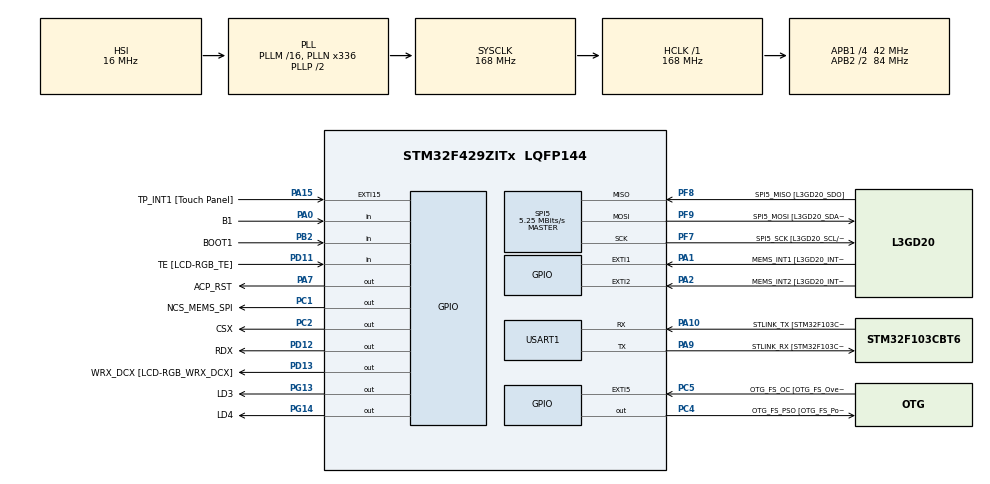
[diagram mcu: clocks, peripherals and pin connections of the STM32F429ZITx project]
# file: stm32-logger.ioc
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FREERTOS.Tasks01=defaultTask,24,128,StartDefaultTask,Default,NULL,Dynamic,NULL,NULL;HeartbeatTask,25,256,StartHeartbeatTask,Default,NULL,Dynamic,NULL,NULL;gyroTask,32,256,StartGyroTask,Default,NULL,Dynamic,NULL,NULL;loggerTask,8,512,StartLoggerTask,Default,NULL,Dynamic,NULL,NULL;sysTask,16,192,StartSysTask,Default,NULL,Dynamic,NULL,NULL
FREERTOS.configCHECK_FOR_STACK_OVERFLOW=2
FREERTOS.configUSE_NEWLIB_REENTRANT=1
Mcu.Family=STM32F4
Mcu.Name=STM32F429ZITx
Mcu.Package=LQFP144
NVIC.PriorityGroup=NVIC_PRIORITYGROUP_4
NVIC.TIM6_DAC_IRQn=true\:15\:0\:false\:false\:true\:false\:false\:true\:true
NVIC.TimeBase=TIM6_DAC_IRQn
NVIC.TimeBaseIP=TIM6
PA0/WKUP.GPIO_Label=B1
PA0/WKUP.Signal=GPIO_Input
PA1.GPIO_Label=MEMS_INT1 [L3GD20_INT1]
PA1.GPIO_ModeDefaultEXTI=GPIO_MODE_EVT_RISING
PA1.GPIO_PuPd=GPIO_NOPULL
PA1.Signal=GPXTI1
PA10.GPIO_Label=STLINK_TX [STM32F103CBT6_PA2]
PA10.Mode=Asynchronous
PA10.Signal=USART1_RX
PA11.GPIO_Label=R4
PA11.GPIO_Mode=GPIO_MODE_AF_PP
PA11.GPIO_PuPd=GPIO_NOPULL
PA11.GPIO_Speed=GPIO_SPEED_FREQ_LOW
PA11.Signal=LTDC_R4
PA12.GPIO_Label=R5
PA12.GPIO_Mode=GPIO_MODE_AF_PP
PA12.GPIO_PuPd=GPIO_NOPULL
PA12.GPIO_Speed=GPIO_SPEED_FREQ_LOW
PA12.Signal=LTDC_R5
PA13.GPIO_Label=SWDIO
PA13.Signal=SYS_JTMS-SWDIO
PA14.GPIO_Label=SWCLK
PA14.Signal=SYS_JTCK-SWCLK
PA15.GPIO_Label=TP_INT1 [Touch Panel]
PA15.GPIO_ModeDefaultEXTI=GPIO_MODE_EVT_RISING
PA15.GPIO_PuPd=GPIO_NOPULL
PA15.Signal=GPXTI15
PA2.GPIO_Label=MEMS_INT2 [L3GD20_INT2]
PA2.GPIO_ModeDefaultEXTI=GPIO_MODE_EVT_RISING
PA2.GPIO_PuPd=GPIO_NOPULL
PA2.Signal=GPXTI2
PA3.GPIO_Label=B5
PA3.GPIO_Mode=GPIO_MODE_AF_PP
PA3.GPIO_PuPd=GPIO_NOPULL
PA3.GPIO_Speed=GPIO_SPEED_FREQ_LOW
PA3.Signal=LTDC_B5
PA4.GPIO_Label=VSYNC
PA4.GPIO_Mode=GPIO_MODE_AF_PP
PA4.GPIO_PuPd=GPIO_NOPULL
PA4.GPIO_Speed=GPIO_SPEED_FREQ_LOW
PA4.Signal=LTDC_VSYNC
PA6.GPIO_Label=G2
PA6.GPIO_Mode=GPIO_MODE_AF_PP
PA6.GPIO_PuPd=GPIO_NOPULL
PA6.GPIO_Speed=GPIO_SPEED_FREQ_LOW
PA6.Signal=LTDC_G2
PA7.GPIO_Label=ACP_RST
PA7.GPIO_Mode=GPIO_MODE_OUTPUT_PP
PA7.GPIO_PuPd=GPIO_NOPULL
PA7.GPIO_Speed=GPIO_SPEED_FREQ_LOW
PA7.Signal=GPIO_Output
PA8.GPIO_Label=I2C3_SCL [ACP/RF_SCL]
PA8.GPIO_Mode=GPIO_MODE_AF_OD
PA8.GPIO_PuPd=GPIO_NOPULL
PA8.GPIO_Speed=GPIO_SPEED_FREQ_LOW
PA8.Signal=I2C3_SCL
PA9.GPIO_Label=STLINK_RX [STM32F103CBT6_PA3]
PA9.Mode=Asynchronous
PA9.Signal=USART1_TX
PB0.GPIO_Label=R3
PB0.GPIO_Mode=GPIO_MODE_AF_PP
PB0.GPIO_PuPd=GPIO_NOPULL
PB0.GPIO_Speed=GPIO_SPEED_FREQ_LOW
PB0.Signal=LTDC_R3
PB1.GPIO_Label=R6
PB1.GPIO_Mode=GPIO_MODE_AF_PP
PB1.GPIO_PuPd=GPIO_NOPULL
PB1.GPIO_Speed=GPIO_SPEED_FREQ_LOW
PB1.Signal=LTDC_R6
PB10.GPIO_Label=G4
PB10.GPIO_Mode=GPIO_MODE_AF_PP
PB10.GPIO_PuPd=GPIO_NOPULL
PB10.GPIO_Speed=GPIO_SPEED_FREQ_LOW
PB10.Signal=LTDC_G4
PB11.GPIO_Label=G5
PB11.GPIO_Mode=GPIO_MODE_AF_PP
PB11.GPIO_PuPd=GPIO_NOPULL
PB11.GPIO_Speed=GPIO_SPEED_FREQ_LOW
PB11.Signal=LTDC_G5
PB12.GPIO_Label=OTG_HS_ID
PB12.GPIO_Mode=GPIO_MODE_AF_PP
PB12.GPIO_PuPd=GPIO_NOPULL
PB12.GPIO_Speed=GPIO_SPEED_FREQ_LOW
PB12.Signal=USB_OTG_HS_ID
PB13.GPIO_Label=VBUS_HS
PB13.GPIO_Mode=GPIO_MODE_INPUT
PB13.GPIO_PuPd=GPIO_NOPULL
PB13.Signal=USB_OTG_HS_VBUS
PB14.GPIO_Label=OTG_HS_DM
PB14.GPIO_Mode=GPIO_MODE_AF_PP
PB14.GPIO_PuPd=GPIO_NOPULL
PB14.GPIO_Speed=GPIO_SPEED_FREQ_LOW
PB14.Signal=USB_OTG_HS_DM
PB15.GPIO_Label=OTG_HS_DP
PB15.GPIO_Mode=GPIO_MODE_AF_PP
PB15.GPIO_PuPd=GPIO_NOPULL
PB15.GPIO_Speed=GPIO_SPEED_FREQ_LOW
PB15.Signal=USB_OTG_HS_DP
PB2/BOOT1.GPIO_Label=BOOT1
PB2/BOOT1.GPIO_Mode=GPIO_MODE_INPUT
PB2/BOOT1.GPIO_PuPd=GPIO_NOPULL
PB2/BOOT1.Signal=GPIO_Input
PB5.GPIO_Label=SDCKE1
PB5.GPIO_Mode=GPIO_MODE_AF_PP
PB5.GPIO_PuPd=GPIO_NOPULL
PB5.GPIO_Speed=GPIO_SPEED_FREQ_VERY_HIGH
PB5.Signal=FMC_SDCKE1
PB6.GPIO_Label=SDNE1 [SDRAM_CS]
PB6.GPIO_Mode=GPIO_MODE_AF_PP
PB6.GPIO_PuPd=GPIO_NOPULL
PB6.GPIO_Speed=GPIO_SPEED_FREQ_VERY_HIGH
PB6.Signal=FMC_SDNE1
PB8.GPIO_Label=B6
PB8.GPIO_Mode=GPIO_MODE_AF_PP
PB8.GPIO_PuPd=GPIO_NOPULL
PB8.GPIO_Speed=GPIO_SPEED_FREQ_LOW
PB8.Signal=LTDC_B6
PB9.GPIO_Label=B7
PB9.GPIO_Mode=GPIO_MODE_AF_PP
PB9.GPIO_PuPd=GPIO_NOPULL
PB9.GPIO_Speed=GPIO_SPEED_FREQ_LOW
PB9.Signal=LTDC_B7
PC0.GPIO_Label=SDNWE
PC0.GPIO_Mode=GPIO_MODE_AF_PP
PC0.GPIO_PuPd=GPIO_NOPULL
PC0.GPIO_Speed=GPIO_SPEED_FREQ_VERY_HIGH
PC0.Signal=FMC_SDNWE
PC1.GPIO_Label=NCS_MEMS_SPI 
PC1.GPIO_Mode=GPIO_MODE_OUTPUT_PP
PC1.GPIO_PuPd=GPIO_NOPULL
PC1.GPIO_Speed=GPIO_SPEED_FREQ_LOW
PC1.PinState=GPIO_PIN_SET
PC1.Signal=GPIO_Output
PC10.GPIO_Label=R2
PC10.GPIO_Mode=GPIO_MODE_AF_PP
PC10.GPIO_PuPd=GPIO_NOPULL
PC10.GPIO_Speed=GPIO_SPEED_FREQ_LOW
PC10.Signal=LTDC_R2
PC14/OSC32_IN.GPIO_Label=PC14-OSC32_IN
PC14/OSC32_IN.Signal=RCC_OSC32_IN
PC15/OSC32_OUT.GPIO_Label=PC15-OSC32_OUT
PC15/OSC32_OUT.Signal=RCC_OSC32_OUT
PC2.GPIO_Label=CSX
PC2.GPIO_Mode=GPIO_MODE_OUTPUT_PP
PC2.GPIO_PuPd=GPIO_NOPULL
PC2.GPIO_Speed=GPIO_SPEED_FREQ_LOW
PC2.Signal=GPIO_Output
PC4.GPIO_Label=OTG_FS_PSO [OTG_FS_PowerSwitchOn]
PC4.GPIO_Mode=GPIO_MODE_OUTPUT_PP
PC4.GPIO_PuPd=GPIO_NOPULL
PC4.GPIO_Speed=GPIO_SPEED_FREQ_LOW
PC4.Signal=GPIO_Output
PC5.GPIO_Label=OTG_FS_OC [OTG_FS_OverCurrent]
PC5.GPIO_ModeDefaultEXTI=GPIO_MODE_EVT_RISING
PC5.Signal=GPXTI5
PC6.GPIO_Label=HSYNC
PC6.GPIO_Mode=GPIO_MODE_AF_PP
PC6.GPIO_PuPd=GPIO_NOPULL
PC6.GPIO_Speed=GPIO_SPEED_FREQ_LOW
PC6.Signal=LTDC_HSYNC
PC7.GPIO_Label=G6
PC7.GPIO_Mode=GPIO_MODE_AF_PP
PC7.GPIO_PuPd=GPIO_NOPULL
PC7.GPIO_Speed=GPIO_SPEED_FREQ_LOW
PC7.Signal=LTDC_G6
PC9.GPIO_Label=I2C3_SDA [ACP/RF_SDA]
PC9.GPIO_Mode=GPIO_MODE_AF_OD
PC9.GPIO_PuPd=GPIO_NOPULL
PC9.GPIO_Speed=GPIO_SPEED_FREQ_LOW
PC9.Signal=I2C3_SDA
PD0.GPIO_Label=D2
PD0.GPIO_Mode=GPIO_MODE_AF_PP
PD0.GPIO_PuPd=GPIO_NOPULL
PD0.GPIO_Speed=GPIO_SPEED_FREQ_VERY_HIGH
PD0.Signal=FMC_D2_DA2
PD1.GPIO_Label=D3
PD1.GPIO_Mode=GPIO_MODE_AF_PP
PD1.GPIO_PuPd=GPIO_NOPULL
PD1.GPIO_Speed=GPIO_SPEED_FREQ_VERY_HIGH
PD1.Signal=FMC_D3_DA3
PD10.GPIO_Label=D15
PD10.GPIO_Mode=GPIO_MODE_AF_PP
PD10.GPIO_PuPd=GPIO_NOPULL
PD10.GPIO_Speed=GPIO_SPEED_FREQ_VERY_HIGH
PD10.Signal=FMC_D15_DA15
PD11.GPIO_Label=TE [LCD-RGB_TE]
PD11.GPIO_Mode=GPIO_MODE_INPUT
PD11.GPIO_PuPd=GPIO_NOPULL
PD11.Signal=GPIO_Input
PD12.GPIO_Label=RDX
PD12.GPIO_Mode=GPIO_MODE_OUTPUT_PP
PD12.GPIO_PuPd=GPIO_NOPULL
PD12.GPIO_Speed=GPIO_SPEED_FREQ_LOW
PD12.Signal=GPIO_Output
PD13.GPIO_Label=WRX_DCX [LCD-RGB_WRX_DCX]
PD13.GPIO_Mode=GPIO_MODE_OUTPUT_PP
PD13.GPIO_PuPd=GPIO_NOPULL
PD13.GPIO_Speed=GPIO_SPEED_FREQ_LOW
PD13.Signal=GPIO_Output
PD14.GPIO_Label=D0
PD14.GPIO_Mode=GPIO_MODE_AF_PP
PD14.GPIO_PuPd=GPIO_NOPULL
PD14.GPIO_Speed=GPIO_SPEED_FREQ_VERY_HIGH
PD14.Signal=FMC_D0_DA0
PD15.GPIO_Label=D1
PD15.GPIO_Mode=GPIO_MODE_AF_PP
PD15.GPIO_PuPd=GPIO_NOPULL
PD15.GPIO_Speed=GPIO_SPEED_FREQ_VERY_HIGH
PD15.Signal=FMC_D1_DA1
PD3.GPIO_Label=G7
PD3.GPIO_Mode=GPIO_MODE_AF_PP
PD3.GPIO_PuPd=GPIO_NOPULL
PD3.GPIO_Speed=GPIO_SPEED_FREQ_LOW
PD3.Signal=LTDC_G7
PD6.GPIO_Label=B2
PD6.GPIO_Mode=GPIO_MODE_AF_PP
PD6.GPIO_PuPd=GPIO_NOPULL
PD6.GPIO_Speed=GPIO_SPEED_FREQ_LOW
PD6.Signal=LTDC_B2
PD8.GPIO_Label=D13
PD8.GPIO_Mode=GPIO_MODE_AF_PP
PD8.GPIO_PuPd=GPIO_NOPULL
PD8.GPIO_Speed=GPIO_SPEED_FREQ_VERY_HIGH
PD8.Signal=FMC_D13_DA13
PD9.GPIO_Label=D14
PD9.GPIO_Mode=GPIO_MODE_AF_PP
PD9.GPIO_PuPd=GPIO_NOPULL
PD9.GPIO_Speed=GPIO_SPEED_FREQ_VERY_HIGH
PD9.Signal=FMC_D14_DA14
PE0.GPIO_Label=NBL0 [SDRAM_LDQM]
PE0.GPIO_Mode=GPIO_MODE_AF_PP
PE0.GPIO_PuPd=GPIO_NOPULL
PE0.GPIO_Speed=GPIO_SPEED_FREQ_VERY_HIGH
PE0.Signal=FMC_NBL0
PE1.GPIO_Label=NBL1 [SDRAM_UDQM]
PE1.GPIO_Mode=GPIO_MODE_AF_PP
PE1.GPIO_PuPd=GPIO_NOPULL
PE1.GPIO_Speed=GPIO_SPEED_FREQ_VERY_HIGH
PE1.Signal=FMC_NBL1
PE10.GPIO_Label=D7
PE10.GPIO_Mode=GPIO_MODE_AF_PP
PE10.GPIO_PuPd=GPIO_NOPULL
PE10.GPIO_Speed=GPIO_SPEED_FREQ_VERY_HIGH
PE10.Signal=FMC_D7_DA7
PE11.GPIO_Label=D8
PE11.GPIO_Mode=GPIO_MODE_AF_PP
PE11.GPIO_PuPd=GPIO_NOPULL
PE11.GPIO_Speed=GPIO_SPEED_FREQ_VERY_HIGH
PE11.Signal=FMC_D8_DA8
PE12.GPIO_Label=D9
PE12.GPIO_Mode=GPIO_MODE_AF_PP
PE12.GPIO_PuPd=GPIO_NOPULL
PE12.GPIO_Speed=GPIO_SPEED_FREQ_VERY_HIGH
PE12.Signal=FMC_D9_DA9
PE13.GPIO_Label=D10
PE13.GPIO_Mode=GPIO_MODE_AF_PP
PE13.GPIO_PuPd=GPIO_NOPULL
PE13.GPIO_Speed=GPIO_SPEED_FREQ_VERY_HIGH
PE13.Signal=FMC_D10_DA10
PE14.GPIO_Label=D11
PE14.GPIO_Mode=GPIO_MODE_AF_PP
PE14.GPIO_PuPd=GPIO_NOPULL
PE14.GPIO_Speed=GPIO_SPEED_FREQ_VERY_HIGH
PE14.Signal=FMC_D11_DA11
PE15.GPIO_Label=D12
PE15.GPIO_Mode=GPIO_MODE_AF_PP
PE15.GPIO_PuPd=GPIO_NOPULL
PE15.GPIO_Speed=GPIO_SPEED_FREQ_VERY_HIGH
PE15.Signal=FMC_D12_DA12
PE7.GPIO_Label=D4
PE7.GPIO_Mode=GPIO_MODE_AF_PP
PE7.GPIO_PuPd=GPIO_NOPULL
PE7.GPIO_Speed=GPIO_SPEED_FREQ_VERY_HIGH
PE7.Signal=FMC_D4_DA4
PE8.GPIO_Label=D5
PE8.GPIO_Mode=GPIO_MODE_AF_PP
PE8.GPIO_PuPd=GPIO_NOPULL
PE8.GPIO_Speed=GPIO_SPEED_FREQ_VERY_HIGH
PE8.Signal=FMC_D5_DA5
PE9.GPIO_Label=D6
PE9.GPIO_Mode=GPIO_MODE_AF_PP
PE9.GPIO_PuPd=GPIO_NOPULL
PE9.GPIO_Speed=GPIO_SPEED_FREQ_VERY_HIGH
PE9.Signal=FMC_D6_DA6
PF0.GPIO_Label=A0
PF0.GPIO_Mode=GPIO_MODE_AF_PP
PF0.GPIO_PuPd=GPIO_NOPULL
PF0.GPIO_Speed=GPIO_SPEED_FREQ_VERY_HIGH
PF0.Signal=FMC_A0
PF1.GPIO_Label=A1
PF1.GPIO_Mode=GPIO_MODE_AF_PP
PF1.GPIO_PuPd=GPIO_NOPULL
PF1.GPIO_Speed=GPIO_SPEED_FREQ_VERY_HIGH
PF1.Signal=FMC_A1
PF10.GPIO_Label=ENABLE [LCD-RGB_ENABLE]
PF10.GPIO_Mode=GPIO_MODE_AF_PP
PF10.GPIO_PuPd=GPIO_NOPULL
PF10.GPIO_Speed=GPIO_SPEED_FREQ_LOW
PF10.Signal=LTDC_DE
PF11.GPIO_Label=SDNRAS
PF11.GPIO_Mode=GPIO_MODE_AF_PP
PF11.GPIO_PuPd=GPIO_NOPULL
PF11.GPIO_Speed=GPIO_SPEED_FREQ_VERY_HIGH
PF11.Signal=FMC_SDNRAS
PF12.GPIO_Label=A6
PF12.GPIO_Mode=GPIO_MODE_AF_PP
PF12.GPIO_PuPd=GPIO_NOPULL
PF12.GPIO_Speed=GPIO_SPEED_FREQ_VERY_HIGH
PF12.Signal=FMC_A6
PF13.GPIO_Label=A7
PF13.GPIO_Mode=GPIO_MODE_AF_PP
PF13.GPIO_PuPd=GPIO_NOPULL
PF13.GPIO_Speed=GPIO_SPEED_FREQ_VERY_HIGH
PF13.Signal=FMC_A7
PF14.GPIO_Label=A8
PF14.GPIO_Mode=GPIO_MODE_AF_PP
PF14.GPIO_PuPd=GPIO_NOPULL
PF14.GPIO_Speed=GPIO_SPEED_FREQ_VERY_HIGH
PF14.Signal=FMC_A8
PF15.GPIO_Label=A9
PF15.GPIO_Mode=GPIO_MODE_AF_PP
PF15.GPIO_PuPd=GPIO_NOPULL
PF15.GPIO_Speed=GPIO_SPEED_FREQ_VERY_HIGH
PF15.Signal=FMC_A9
PF2.GPIO_Label=A2
PF2.GPIO_Mode=GPIO_MODE_AF_PP
PF2.GPIO_PuPd=GPIO_NOPULL
PF2.GPIO_Speed=GPIO_SPEED_FREQ_VERY_HIGH
PF2.Signal=FMC_A2
PF3.GPIO_Label=A3
PF3.GPIO_Mode=GPIO_MODE_AF_PP
PF3.GPIO_PuPd=GPIO_NOPULL
PF3.GPIO_Speed=GPIO_SPEED_FREQ_VERY_HIGH
PF3.Signal=FMC_A3
PF4.GPIO_Label=A4
PF4.GPIO_Mode=GPIO_MODE_AF_PP
PF4.GPIO_PuPd=GPIO_NOPULL
PF4.GPIO_Speed=GPIO_SPEED_FREQ_VERY_HIGH
PF4.Signal=FMC_A4
PF5.GPIO_Label=A5
PF5.GPIO_Mode=GPIO_MODE_AF_PP
PF5.GPIO_PuPd=GPIO_NOPULL
PF5.GPIO_Speed=GPIO_SPEED_FREQ_VERY_HIGH
PF5.Signal=FMC_A5
PF7.GPIO_Label=SPI5_SCK [L3GD20_SCL/SPC]
PF7.GPIO_Mode=GPIO_MODE_AF_PP
PF7.GPIO_PuPd=GPIO_NOPULL
PF7.GPIO_Speed=GPIO_SPEED_FREQ_VERY_HIGH
PF7.Mode=Full_Duplex_Master
PF7.Signal=SPI5_SCK
PF8.GPIO_Label=SPI5_MISO [L3GD20_SDO]
PF8.GPIO_Mode=GPIO_MODE_AF_PP
PF8.GPIO_PuPd=GPIO_NOPULL
PF8.GPIO_Speed=GPIO_SPEED_FREQ_VERY_HIGH
PF8.Mode=Full_Duplex_Master
PF8.Signal=SPI5_MISO
PF9.GPIO_Label=SPI5_MOSI [L3GD20_SDA/SDI/SDO]
PF9.GPIO_Mode=GPIO_MODE_AF_PP
PF9.GPIO_PuPd=GPIO_NOPULL
PF9.GPIO_Speed=GPIO_SPEED_FREQ_VERY_HIGH
PF9.Mode=Full_Duplex_Master
PF9.Signal=SPI5_MOSI
PG0.GPIO_Label=A10
PG0.GPIO_Mode=GPIO_MODE_AF_PP
PG0.GPIO_PuPd=GPIO_NOPULL
PG0.GPIO_Speed=GPIO_SPEED_FREQ_VERY_HIGH
PG0.Signal=FMC_A10
PG1.GPIO_Label=A11
PG1.GPIO_Mode=GPIO_MODE_AF_PP
PG1.GPIO_PuPd=GPIO_NOPULL
PG1.GPIO_Speed=GPIO_SPEED_FREQ_VERY_HIGH
PG1.Signal=FMC_A11
PG10.GPIO_Label=G3
PG10.GPIO_Mode=GPIO_MODE_AF_PP
PG10.GPIO_PuPd=GPIO_NOPULL
PG10.GPIO_Speed=GPIO_SPEED_FREQ_LOW
PG10.Signal=LTDC_G3
PG11.GPIO_Label=B3
PG11.GPIO_Mode=GPIO_MODE_AF_PP
PG11.GPIO_PuPd=GPIO_NOPULL
PG11.GPIO_Speed=GPIO_SPEED_FREQ_LOW
PG11.Signal=LTDC_B3
PG12.GPIO_Label=B4
PG12.GPIO_Mode=GPIO_MODE_AF_PP
PG12.GPIO_PuPd=GPIO_NOPULL
PG12.GPIO_Speed=GPIO_SPEED_FREQ_LOW
PG12.Signal=LTDC_B4
PG13.GPIO_Label=LD3
PG13.GPIO_Mode=GPIO_MODE_OUTPUT_PP
PG13.GPIO_PuPd=GPIO_NOPULL
PG13.GPIO_Speed=GPIO_SPEED_FREQ_LOW
PG13.Signal=GPIO_Output
PG14.GPIO_Label=LD4
PG14.Signal=GPIO_Output
PG15.GPIO_Label=SDNCAS
PG15.GPIO_Mode=GPIO_MODE_AF_PP
PG15.GPIO_PuPd=GPIO_NOPULL
PG15.GPIO_Speed=GPIO_SPEED_FREQ_VERY_HIGH
PG15.Signal=FMC_SDNCAS
PG4.GPIO_Label=BA0
PG4.GPIO_Mode=GPIO_MODE_AF_PP
PG4.GPIO_PuPd=GPIO_NOPULL
PG4.GPIO_Speed=GPIO_SPEED_FREQ_VERY_HIGH
PG4.Signal=FMC_A14_BA0
PG5.GPIO_Label=BA1
PG5.GPIO_Mode=GPIO_MODE_AF_PP
PG5.GPIO_PuPd=GPIO_NOPULL
PG5.GPIO_Speed=GPIO_SPEED_FREQ_VERY_HIGH
PG5.Signal=FMC_A15_BA1
PG6.GPIO_Label=R7
PG6.GPIO_Mode=GPIO_MODE_AF_PP
PG6.GPIO_PuPd=GPIO_NOPULL
PG6.GPIO_Speed=GPIO_SPEED_FREQ_LOW
PG6.Signal=LTDC_R7
PG7.GPIO_Label=DOTCLK [LCT-RGB_DOTCLK]
PG7.GPIO_Mode=GPIO_MODE_AF_PP
PG7.GPIO_PuPd=GPIO_NOPULL
PG7.GPIO_Speed=GPIO_SPEED_FREQ_LOW
PG7.Signal=LTDC_CLK
PG8.GPIO_Label=SDCLK
PG8.GPIO_Mode=GPIO_MODE_AF_PP
PG8.GPIO_PuPd=GPIO_NOPULL
PG8.GPIO_Speed=GPIO_SPEED_FREQ_VERY_HIGH
PG8.Signal=FMC_SDCLK
PH0/OSC_IN.GPIO_Label=PH0-OSC_IN
PH0/OSC_IN.Signal=RCC_OSC_IN
PH1/OSC_OUT.GPIO_Label=PH1-OSC_OUT
PH1/OSC_OUT.Signal=RCC_OSC_OUT
ProjectManager.HeapSize=0x200
ProjectManager.StackSize=0x400
ProjectManager.TargetToolchain=STM32CubeIDE
RCC.48MHZClocksFreq_Value=48000000
RCC.AHBFreq_Value=168000000
RCC.APB1CLKDivider=RCC_HCLK_DIV4
RCC.APB1Freq_Value=42000000
RCC.APB1TimFreq_Value=84000000
RCC.APB2CLKDivider=RCC_HCLK_DIV2
RCC.APB2Freq_Value=84000000
RCC.APB2TimFreq_Value=168000000
RCC.CortexFreq_Value=168000000
RCC.HCLKFreq_Value=168000000
RCC.HSE_VALUE=8000000
RCC.HSI_VALUE=16000000
RCC.LSE_VALUE=32768
RCC.PLLN=336
RCC.PLLQ=7
RCC.SYSCLKFreq_VALUE=168000000
RCC.SYSCLKSource=RCC_SYSCLKSOURCE_PLLCLK
RCC.VCOOutputFreq_Value=336000000
SH.FMC_A0.0=FMC_A0
SH.FMC_A1.0=FMC_A1
SH.FMC_A10.0=FMC_A10
SH.FMC_A11.0=FMC_A11
SH.FMC_A14_BA0.0=FMC_BA0
SH.FMC_A15_BA1.0=FMC_BA1
SH.FMC_A2.0=FMC_A2
SH.FMC_A3.0=FMC_A3
SH.FMC_A4.0=FMC_A4
SH.FMC_A5.0=FMC_A5
SH.FMC_A6.0=FMC_A6
SH.FMC_A7.0=FMC_A7
SH.FMC_A8.0=FMC_A8
SH.FMC_A9.0=FMC_A9
SH.FMC_D0_DA0.0=FMC_D0
SH.FMC_D10_DA10.0=FMC_D10
SH.FMC_D11_DA11.0=FMC_D11
SH.FMC_D12_DA12.0=FMC_D12
SH.FMC_D13_DA13.0=FMC_D13
SH.FMC_D14_DA14.0=FMC_D14
SH.FMC_D15_DA15.0=FMC_D15
SH.FMC_D1_DA1.0=FMC_D1
SH.FMC_D2_DA2.0=FMC_D2
SH.FMC_D3_DA3.0=FMC_D3
SH.FMC_D4_DA4.0=FMC_D4
SH.FMC_D5_DA5.0=FMC_D5
SH.FMC_D6_DA6.0=FMC_D6
SH.FMC_D7_DA7.0=FMC_D7
SH.FMC_D8_DA8.0=FMC_D8
SH.FMC_D9_DA9.0=FMC_D9
SH.FMC_NBL0.0=FMC_NBL0
SH.FMC_NBL1.0=FMC_NBL1
SH.FMC_SDCLK.0=FMC_SDCLK
SH.FMC_SDNCAS.0=FMC_SDNCAS
SH.FMC_SDNRAS.0=FMC_SDNRAS
SH.FMC_SDNWE.0=FMC_SDNWE
SPI5.BaudRatePrescaler=SPI_BAUDRATEPRESCALER_16
SPI5.CalculateBaudRate=5.25 MBits/s
SPI5.Direction=SPI_DIRECTION_2LINES
SPI5.Mode=SPI_MODE_MASTER
SPI5.VirtualType=VM_MASTER
USART1.VirtualMode=VM_ASYNC
VP_FREERTOS_VS_CMSIS_V2.Mode=CMSIS_V2
VP_SYS_VS_tim6.Mode=TIM6
board=STM32F429I-DISC1

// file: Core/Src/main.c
/* USER CODE BEGIN Header */
/**
  ******************************************************************************
  * @file           : main.c
  * @brief          : Main program body
  ******************************************************************************
  * @attention
  *
  * Copyright (c) 2026 STMicroelectronics.
  * All rights reserved.
  *
  * This software is licensed under terms that can be found in the LICENSE file
  * in the root directory of this software component.
  * If no LICENSE file comes with this software, it is provided AS-IS.
  *
  ******************************************************************************
  */
/* USER CODE END Header */
#include "main.h"
#include "cmsis_os.h"

/* USER CODE BEGIN Includes */
#include "stdio.h"
#include "gyro.h"

#include "gyro.h"
#include "sample.h"

#include <string.h>

#include "FreeRTOS.h"
#include "task.h"

/* USER CODE END Includes */

SPI_HandleTypeDef hspi5;

UART_HandleTypeDef huart1;

/* Definitions for defaultTask */
osThreadId_t defaultTaskHandle;
const osThreadAttr_t defaultTask_attributes = {
  .name = "defaultTask",
  .stack_size = 128 * 4,
  .priority = (osPriority_t) osPriorityNormal,
};
/* Definitions for HeartbeatTask */
osThreadId_t HeartbeatTaskHandle;
const osThreadAttr_t HeartbeatTask_attributes = {
  .name = "HeartbeatTask",
  .stack_size = 256 * 4,
  .priority = (osPriority_t) osPriorityNormal1,
};
/* Definitions for gyroTask */
osThreadId_t gyroTaskHandle;
const osThreadAttr_t gyroTask_attributes = {
  .name = "gyroTask",
  .stack_size = 256 * 4,
  .priority = (osPriority_t) osPriorityAboveNormal,
};
/* Definitions for loggerTask */
osThreadId_t loggerTaskHandle;
const osThreadAttr_t loggerTask_attributes = {
  .name = "loggerTask",
  .stack_size = 512 * 4,
  .priority = (osPriority_t) osPriorityLow,
};
/* Definitions for sysTask */
osThreadId_t sysTaskHandle;
const osThreadAttr_t sysTask_attributes = {
  .name = "sysTask",
  .stack_size = 192 * 4,
  .priority = (osPriority_t) osPriorityBelowNormal,
};
/* USER CODE BEGIN PV */
static uint32_t dropped[SRC_COUNT] = { 0 };

static volatile uint32_t gyro_loops   = 0;
static volatile uint32_t logger_loops = 0;

//our own q

osMessageQueueId_t sampleQueueHandle;

/* USER CODE END PV */

void SystemClock_Config(void);
static void MX_GPIO_Init(void);
static void MX_USART1_UART_Init(void);
static void MX_SPI5_Init(void);
void StartDefaultTask(void *argument);
void StartHeartbeatTask(void *argument);
void StartGyroTask(void *argument);
void StartLoggerTask(void *argument);
void StartSysTask(void *argument);

/* USER CODE BEGIN 0 */
static uint32_t blink_ms = 500;
/* USER CODE END 0 */

int main(void)
{

  /* MCU Configuration--------------------------------------------------------*/

  /* Reset of all peripherals, Initializes the Flash interface and the Systick. */
  HAL_Init();

  /* Configure the system clock */
  SystemClock_Config();

  /* Initialize all configured peripherals */
  MX_GPIO_Init();
  MX_USART1_UART_Init();
  MX_SPI5_Init();
  /* USER CODE BEGIN 2 */
  const char *banner = "\r\n=== boot 10 ===\r\n";
    HAL_UART_Transmit(&huart1, (uint8_t *)banner, strlen(banner), 100);
  /* USER CODE END 2 */

  /* Init scheduler */
  osKernelInitialize();

  /* USER CODE BEGIN RTOS_QUEUES */
  /* add queues, ... */

  /* USER CODE BEGIN RTOS_QUEUES */
    sampleQueueHandle = osMessageQueueNew(32, sizeof(sample_t), NULL);
    if (sampleQueueHandle == NULL)
    {
      Error_Handler();
    }
  /* USER CODE END RTOS_QUEUES */

  /* Create the thread(s) */
  /* creation of defaultTask */
  defaultTaskHandle = osThreadNew(StartDefaultTask, NULL, &defaultTask_attributes);

  /* creation of HeartbeatTask */
  HeartbeatTaskHandle = osThreadNew(StartHeartbeatTask, NULL, &HeartbeatTask_attributes);

  /* creation of gyroTask */
  gyroTaskHandle = osThreadNew(StartGyroTask, NULL, &gyroTask_attributes);

  /* creation of loggerTask */
  loggerTaskHandle = osThreadNew(StartLoggerTask, NULL, &loggerTask_attributes);

  /* creation of sysTask */
  sysTaskHandle = osThreadNew(StartSysTask, NULL, &sysTask_attributes);

  /* Start scheduler */
  osKernelStart();

  /* We should never get here as control is now taken by the scheduler */

  /* Infinite loop */
  while (1)
  {

    /* USER CODE BEGIN 3 */
	//  HAL_GPIO_WritePin(LD4_GPIO_Port, LD4_Pin, GPIO_PIN_SET);

  }
  /* USER CODE END 3 */
}

void SystemClock_Config(void)
{
  RCC_OscInitTypeDef RCC_OscInitStruct = {0};
  RCC_ClkInitTypeDef RCC_ClkInitStruct = {0};

  /** Configure the main internal regulator output voltage
  */
  __HAL_RCC_PWR_CLK_ENABLE();
  __HAL_PWR_VOLTAGESCALING_CONFIG(PWR_REGULATOR_VOLTAGE_SCALE1);

  /** Initializes the RCC Oscillators according to the specified parameters
  * in the RCC_OscInitTypeDef structure.
  */
  RCC_OscInitStruct.OscillatorType = RCC_OSCILLATORTYPE_HSI;
  RCC_OscInitStruct.HSIState = RCC_HSI_ON;
  RCC_OscInitStruct.HSICalibrationValue = RCC_HSICALIBRATION_DEFAULT;
  RCC_OscInitStruct.PLL.PLLState = RCC_PLL_ON;
  RCC_OscInitStruct.PLL.PLLSource = RCC_PLLSOURCE_HSI;
  RCC_OscInitStruct.PLL.PLLM = 16;
  RCC_OscInitStruct.PLL.PLLN = 336;
  RCC_OscInitStruct.PLL.PLLP = RCC_PLLP_DIV2;
  RCC_OscInitStruct.PLL.PLLQ = 7;
  if (HAL_RCC_OscConfig(&RCC_OscInitStruct) != HAL_OK)
  {
    Error_Handler();
  }

  /** Initializes the CPU, AHB and APB buses clocks
  */
  RCC_ClkInitStruct.ClockType = RCC_CLOCKTYPE_HCLK|RCC_CLOCKTYPE_SYSCLK
                              |RCC_CLOCKTYPE_PCLK1|RCC_CLOCKTYPE_PCLK2;
  RCC_ClkInitStruct.SYSCLKSource = RCC_SYSCLKSOURCE_PLLCLK;
  RCC_ClkInitStruct.AHBCLKDivider = RCC_SYSCLK_DIV1;
  RCC_ClkInitStruct.APB1CLKDivider = RCC_HCLK_DIV4;
  RCC_ClkInitStruct.APB2CLKDivider = RCC_HCLK_DIV2;

  if (HAL_RCC_ClockConfig(&RCC_ClkInitStruct, FLASH_LATENCY_5) != HAL_OK)
  {
    Error_Handler();
  }
}

static void MX_SPI5_Init(void)
{

  /* SPI5 parameter configuration*/
  hspi5.Instance = SPI5;
  hspi5.Init.Mode = SPI_MODE_MASTER;
  hspi5.Init.Direction = SPI_DIRECTION_2LINES;
  hspi5.Init.DataSize = SPI_DATASIZE_8BIT;
  hspi5.Init.CLKPolarity = SPI_POLARITY_LOW;
  hspi5.Init.CLKPhase = SPI_PHASE_1EDGE;
  hspi5.Init.NSS = SPI_NSS_SOFT;
  hspi5.Init.BaudRatePrescaler = SPI_BAUDRATEPRESCALER_16;
  hspi5.Init.FirstBit = SPI_FIRSTBIT_MSB;
  hspi5.Init.TIMode = SPI_TIMODE_DISABLE;
  hspi5.Init.CRCCalculation = SPI_CRCCALCULATION_DISABLE;
  hspi5.Init.CRCPolynomial = 10;
  if (HAL_SPI_Init(&hspi5) != HAL_OK)
  {
    Error_Handler();
  }

}

static void MX_USART1_UART_Init(void)
{

  huart1.Instance = USART1;
  huart1.Init.BaudRate = 115200;
  huart1.Init.WordLength = UART_WORDLENGTH_8B;
  huart1.Init.StopBits = UART_STOPBITS_1;
  huart1.Init.Parity = UART_PARITY_NONE;
  huart1.Init.Mode = UART_MODE_TX_RX;
  huart1.Init.HwFlowCtl = UART_HWCONTROL_NONE;
  huart1.Init.OverSampling = UART_OVERSAMPLING_16;
  if (HAL_UART_Init(&huart1) != HAL_OK)
  {
    Error_Handler();
  }

}

static void MX_GPIO_Init(void)
{
  GPIO_InitTypeDef GPIO_InitStruct = {0};

  /* GPIO Ports Clock Enable */
  __HAL_RCC_GPIOC_CLK_ENABLE();
  __HAL_RCC_GPIOF_CLK_ENABLE();
  __HAL_RCC_GPIOH_CLK_ENABLE();
  __HAL_RCC_GPIOA_CLK_ENABLE();
  __HAL_RCC_GPIOB_CLK_ENABLE();
  __HAL_RCC_GPIOG_CLK_ENABLE();
  __HAL_RCC_GPIOE_CLK_ENABLE();
  __HAL_RCC_GPIOD_CLK_ENABLE();

  /*Configure GPIO pin Output Level */
  HAL_GPIO_WritePin(NCS_MEMS_SPI_GPIO_Port, NCS_MEMS_SPI_Pin, GPIO_PIN_SET);

  /*Configure GPIO pin Output Level */
  HAL_GPIO_WritePin(GPIOC, CSX_Pin|OTG_FS_PSO_Pin, GPIO_PIN_RESET);

  /*Configure GPIO pin Output Level */
  HAL_GPIO_WritePin(ACP_RST_GPIO_Port, ACP_RST_Pin, GPIO_PIN_RESET);

  /*Configure GPIO pin Output Level */
  HAL_GPIO_WritePin(GPIOD, RDX_Pin|WRX_DCX_Pin, GPIO_PIN_RESET);

  /*Configure GPIO pin Output Level */
  HAL_GPIO_WritePin(GPIOG, LD3_Pin|LD4_Pin, GPIO_PIN_RESET);

  /*Configure GPIO pins : A0_Pin A1_Pin A2_Pin A3_Pin
                           A4_Pin A5_Pin SDNRAS_Pin A6_Pin
                           A7_Pin A8_Pin A9_Pin */
  GPIO_InitStruct.Pin = A0_Pin|A1_Pin|A2_Pin|A3_Pin
                          |A4_Pin|A5_Pin|SDNRAS_Pin|A6_Pin
                          |A7_Pin|A8_Pin|A9_Pin;
  GPIO_InitStruct.Mode = GPIO_MODE_AF_PP;
  GPIO_InitStruct.Pull = GPIO_NOPULL;
  GPIO_InitStruct.Speed = GPIO_SPEED_FREQ_VERY_HIGH;
  GPIO_InitStruct.Alternate = GPIO_AF12_FMC;
  HAL_GPIO_Init(GPIOF, &GPIO_InitStruct);

  /*Configure GPIO pin : ENABLE_Pin */
  GPIO_InitStruct.Pin = ENABLE_Pin;
  GPIO_InitStruct.Mode = GPIO_MODE_AF_PP;
  GPIO_InitStruct.Pull = GPIO_NOPULL;
  GPIO_InitStruct.Speed = GPIO_SPEED_FREQ_LOW;
  GPIO_InitStruct.Alternate = GPIO_AF14_LTDC;
  HAL_GPIO_Init(ENABLE_GPIO_Port, &GPIO_InitStruct);

  /*Configure GPIO pin : SDNWE_Pin */
  GPIO_InitStruct.Pin = SDNWE_Pin;
  GPIO_InitStruct.Mode = GPIO_MODE_AF_PP;
  GPIO_InitStruct.Pull = GPIO_NOPULL;
  GPIO_InitStruct.Speed = GPIO_SPEED_FREQ_VERY_HIGH;
  GPIO_InitStruct.Alternate = GPIO_AF12_FMC;
  HAL_GPIO_Init(SDNWE_GPIO_Port, &GPIO_InitStruct);

  /*Configure GPIO pins : NCS_MEMS_SPI_Pin CSX_Pin OTG_FS_PSO_Pin */
  GPIO_InitStruct.Pin = NCS_MEMS_SPI_Pin|CSX_Pin|OTG_FS_PSO_Pin;
  GPIO_InitStruct.Mode = GPIO_MODE_OUTPUT_PP;
  GPIO_InitStruct.Pull = GPIO_NOPULL;
  GPIO_InitStruct.Speed = GPIO_SPEED_FREQ_LOW;
  HAL_GPIO_Init(GPIOC, &GPIO_InitStruct);

  /*Configure GPIO pin : B1_Pin */
  GPIO_InitStruct.Pin = B1_Pin;
  GPIO_InitStruct.Mode = GPIO_MODE_INPUT;
  GPIO_InitStruct.Pull = GPIO_NOPULL;
  HAL_GPIO_Init(B1_GPIO_Port, &GPIO_InitStruct);

  /*Configure GPIO pins : MEMS_INT1_Pin MEMS_INT2_Pin TP_INT1_Pin */
  GPIO_InitStruct.Pin = MEMS_INT1_Pin|MEMS_INT2_Pin|TP_INT1_Pin;
  GPIO_InitStruct.Mode = GPIO_MODE_EVT_RISING;
  GPIO_InitStruct.Pull = GPIO_NOPULL;
  HAL_GPIO_Init(GPIOA, &GPIO_InitStruct);

  /*Configure GPIO pins : B5_Pin VSYNC_Pin G2_Pin R4_Pin
                           R5_Pin */
  GPIO_InitStruct.Pin = B5_Pin|VSYNC_Pin|G2_Pin|R4_Pin
                          |R5_Pin;
  GPIO_InitStruct.Mode = GPIO_MODE_AF_PP;
  GPIO_InitStruct.Pull = GPIO_NOPULL;
  GPIO_InitStruct.Speed = GPIO_SPEED_FREQ_LOW;
  GPIO_InitStruct.Alternate = GPIO_AF14_LTDC;
  HAL_GPIO_Init(GPIOA, &GPIO_InitStruct);

  /*Configure GPIO pin : ACP_RST_Pin */
  GPIO_InitStruct.Pin = ACP_RST_Pin;
  GPIO_InitStruct.Mode = GPIO_MODE_OUTPUT_PP;
  GPIO_InitStruct.Pull = GPIO_NOPULL;
  GPIO_InitStruct.Speed = GPIO_SPEED_FREQ_LOW;
  HAL_GPIO_Init(ACP_RST_GPIO_Port, &GPIO_InitStruct);

  /*Configure GPIO pin : OTG_FS_OC_Pin */
  GPIO_InitStruct.Pin = OTG_FS_OC_Pin;
  GPIO_InitStruct.Mode = GPIO_MODE_EVT_RISING;
  GPIO_InitStruct.Pull = GPIO_NOPULL;
  HAL_GPIO_Init(OTG_FS_OC_GPIO_Port, &GPIO_InitStruct);

  /*Configure GPIO pins : R3_Pin R6_Pin */
  GPIO_InitStruct.Pin = R3_Pin|R6_Pin;
  GPIO_InitStruct.Mode = GPIO_MODE_AF_PP;
  GPIO_InitStruct.Pull = GPIO_NOPULL;
  GPIO_InitStruct.Speed = GPIO_SPEED_FREQ_LOW;
  GPIO_InitStruct.Alternate = GPIO_AF9_LTDC;
  HAL_GPIO_Init(GPIOB, &GPIO_InitStruct);

  /*Configure GPIO pin : BOOT1_Pin */
  GPIO_InitStruct.Pin = BOOT1_Pin;
  GPIO_InitStruct.Mode = GPIO_MODE_INPUT;
  GPIO_InitStruct.Pull = GPIO_NOPULL;
  HAL_GPIO_Init(BOOT1_GPIO_Port, &GPIO_InitStruct);

  /*Configure GPIO pins : A10_Pin A11_Pin BA0_Pin BA1_Pin
                           SDCLK_Pin SDNCAS_Pin */
  GPIO_InitStruct.Pin = A10_Pin|A11_Pin|BA0_Pin|BA1_Pin
                          |SDCLK_Pin|SDNCAS_Pin;
  GPIO_InitStruct.Mode = GPIO_MODE_AF_PP;
  GPIO_InitStruct.Pull = GPIO_NOPULL;
  GPIO_InitStruct.Speed = GPIO_SPEED_FREQ_VERY_HIGH;
  GPIO_InitStruct.Alternate = GPIO_AF12_FMC;
  HAL_GPIO_Init(GPIOG, &GPIO_InitStruct);

  /*Configure GPIO pins : D4_Pin D5_Pin D6_Pin D7_Pin
                           D8_Pin D9_Pin D10_Pin D11_Pin
                           D12_Pin NBL0_Pin NBL1_Pin */
  GPIO_InitStruct.Pin = D4_Pin|D5_Pin|D6_Pin|D7_Pin
                          |D8_Pin|D9_Pin|D10_Pin|D11_Pin
                          |D12_Pin|NBL0_Pin|NBL1_Pin;
  GPIO_InitStruct.Mode = GPIO_MODE_AF_PP;
  GPIO_InitStruct.Pull = GPIO_NOPULL;
  GPIO_InitStruct.Speed = GPIO_SPEED_FREQ_VERY_HIGH;
  GPIO_InitStruct.Alternate = GPIO_AF12_FMC;
  HAL_GPIO_Init(GPIOE, &GPIO_InitStruct);

  /*Configure GPIO pins : G4_Pin G5_Pin B6_Pin B7_Pin */
  GPIO_InitStruct.Pin = G4_Pin|G5_Pin|B6_Pin|B7_Pin;
  GPIO_InitStruct.Mode = GPIO_MODE_AF_PP;
  GPIO_InitStruct.Pull = GPIO_NOPULL;
  GPIO_InitStruct.Speed = GPIO_SPEED_FREQ_LOW;
  GPIO_InitStruct.Alternate = GPIO_AF14_LTDC;
  HAL_GPIO_Init(GPIOB, &GPIO_InitStruct);

  /*Configure GPIO pins : OTG_HS_ID_Pin OTG_HS_DM_Pin OTG_HS_DP_Pin */
  GPIO_InitStruct.Pin = OTG_HS_ID_Pin|OTG_HS_DM_Pin|OTG_HS_DP_Pin;
  GPIO_InitStruct.Mode = GPIO_MODE_AF_PP;
  GPIO_InitStruct.Pull = GPIO_NOPULL;
  GPIO_InitStruct.Speed = GPIO_SPEED_FREQ_LOW;
  GPIO_InitStruct.Alternate = GPIO_AF12_OTG_HS_FS;
  HAL_GPIO_Init(GPIOB, &GPIO_InitStruct);

  /*Configure GPIO pin : VBUS_HS_Pin */
  GPIO_InitStruct.Pin = VBUS_HS_Pin;
  GPIO_InitStruct.Mode = GPIO_MODE_INPUT;
  GPIO_InitStruct.Pull = GPIO_NOPULL;
  HAL_GPIO_Init(VBUS_HS_GPIO_Port, &GPIO_InitStruct);

  /*Configure GPIO pins : D13_Pin D14_Pin D15_Pin D0_Pin
                           D1_Pin D2_Pin D3_Pin */
  GPIO_InitStruct.Pin = D13_Pin|D14_Pin|D15_Pin|D0_Pin
                          |D1_Pin|D2_Pin|D3_Pin;
  GPIO_InitStruct.Mode = GPIO_MODE_AF_PP;
  GPIO_InitStruct.Pull = GPIO_NOPULL;
  GPIO_InitStruct.Speed = GPIO_SPEED_FREQ_VERY_HIGH;
  GPIO_InitStruct.Alternate = GPIO_AF12_FMC;
  HAL_GPIO_Init(GPIOD, &GPIO_InitStruct);

  /*Configure GPIO pin : TE_Pin */
  GPIO_InitStruct.Pin = TE_Pin;
  GPIO_InitStruct.Mode = GPIO_MODE_INPUT;
  GPIO_InitStruct.Pull = GPIO_NOPULL;
  HAL_GPIO_Init(TE_GPIO_Port, &GPIO_InitStruct);

  /*Configure GPIO pins : RDX_Pin WRX_DCX_Pin */
  GPIO_InitStruct.Pin = RDX_Pin|WRX_DCX_Pin;
  GPIO_InitStruct.Mode = GPIO_MODE_OUTPUT_PP;
  GPIO_InitStruct.Pull = GPIO_NOPULL;
  GPIO_InitStruct.Speed = GPIO_SPEED_FREQ_LOW;
  HAL_GPIO_Init(GPIOD, &GPIO_InitStruct);

  /*Configure GPIO pins : R7_Pin DOTCLK_Pin B3_Pin */
  GPIO_InitStruct.Pin = R7_Pin|DOTCLK_Pin|B3_Pin;
  GPIO_InitStruct.Mode = GPIO_MODE_AF_PP;
  GPIO_InitStruct.Pull = GPIO_NOPULL;
  GPIO_InitStruct.Speed = GPIO_SPEED_FREQ_LOW;
  GPIO_InitStruct.Alternate = GPIO_AF14_LTDC;
  HAL_GPIO_Init(GPIOG, &GPIO_InitStruct);

  /*Configure GPIO pins : HSYNC_Pin G6_Pin R2_Pin */
  GPIO_InitStruct.Pin = HSYNC_Pin|G6_Pin|R2_Pin;
  GPIO_InitStruct.Mode = GPIO_MODE_AF_PP;
  GPIO_InitStruct.Pull = GPIO_NOPULL;
  GPIO_InitStruct.Speed = GPIO_SPEED_FREQ_LOW;
  GPIO_InitStruct.Alternate = GPIO_AF14_LTDC;
  HAL_GPIO_Init(GPIOC, &GPIO_InitStruct);

  /*Configure GPIO pin : I2C3_SDA_Pin */
  GPIO_InitStruct.Pin = I2C3_SDA_Pin;
  GPIO_InitStruct.Mode = GPIO_MODE_AF_OD;
  GPIO_InitStruct.Pull = GPIO_NOPULL;
  GPIO_InitStruct.Speed = GPIO_SPEED_FREQ_LOW;
  GPIO_InitStruct.Alternate = GPIO_AF4_I2C3;
  HAL_GPIO_Init(I2C3_SDA_GPIO_Port, &GPIO_InitStruct);

  /*Configure GPIO pin : I2C3_SCL_Pin */
  GPIO_InitStruct.Pin = I2C3_SCL_Pin;
  GPIO_InitStruct.Mode = GPIO_MODE_AF_OD;
  GPIO_InitStruct.Pull = GPIO_NOPULL;
  GPIO_InitStruct.Speed = GPIO_SPEED_FREQ_LOW;
  GPIO_InitStruct.Alternate = GPIO_AF4_I2C3;
  HAL_GPIO_Init(I2C3_SCL_GPIO_Port, &GPIO_InitStruct);

  /*Configure GPIO pins : G7_Pin B2_Pin */
  GPIO_InitStruct.Pin = G7_Pin|B2_Pin;
  GPIO_InitStruct.Mode = GPIO_MODE_AF_PP;
  GPIO_InitStruct.Pull = GPIO_NOPULL;
  GPIO_InitStruct.Speed = GPIO_SPEED_FREQ_LOW;
  GPIO_InitStruct.Alternate = GPIO_AF14_LTDC;
  HAL_GPIO_Init(GPIOD, &GPIO_InitStruct);

  /*Configure GPIO pins : G3_Pin B4_Pin */
  GPIO_InitStruct.Pin = G3_Pin|B4_Pin;
  GPIO_InitStruct.Mode = GPIO_MODE_AF_PP;
  GPIO_InitStruct.Pull = GPIO_NOPULL;
  GPIO_InitStruct.Speed = GPIO_SPEED_FREQ_LOW;
  GPIO_InitStruct.Alternate = GPIO_AF9_LTDC;
  HAL_GPIO_Init(GPIOG, &GPIO_InitStruct);

  /*Configure GPIO pins : LD3_Pin LD4_Pin */
  GPIO_InitStruct.Pin = LD3_Pin|LD4_Pin;
  GPIO_InitStruct.Mode = GPIO_MODE_OUTPUT_PP;
  GPIO_InitStruct.Pull = GPIO_NOPULL;
  GPIO_InitStruct.Speed = GPIO_SPEED_FREQ_LOW;
  HAL_GPIO_Init(GPIOG, &GPIO_InitStruct);

  /*Configure GPIO pins : SDCKE1_Pin SDNE1_Pin */
  GPIO_InitStruct.Pin = SDCKE1_Pin|SDNE1_Pin;
  GPIO_InitStruct.Mode = GPIO_MODE_AF_PP;
  GPIO_InitStruct.Pull = GPIO_NOPULL;
  GPIO_InitStruct.Speed = GPIO_SPEED_FREQ_VERY_HIGH;
  GPIO_InitStruct.Alternate = GPIO_AF12_FMC;
  HAL_GPIO_Init(GPIOB, &GPIO_InitStruct);

}

void StartDefaultTask(void *argument)
{
  /* USER CODE BEGIN 5 */
  /* Infinite loop */
	/* USER CODE BEGIN 5 */
	  static uint32_t last_toggle = 0;
	  static GPIO_PinState prev = GPIO_PIN_RESET;

	  HAL_GPIO_WritePin(LD4_GPIO_Port, LD4_Pin, GPIO_PIN_SET);

	  for(;;)
	  {
	    GPIO_PinState now = HAL_GPIO_ReadPin(B1_GPIO_Port, B1_Pin);
	    if (now == GPIO_PIN_SET && prev == GPIO_PIN_RESET)
	    {
	      blink_ms = (blink_ms == 500) ? 100 : 500;
	    }
	    prev = now;

	    if (HAL_GetTick() - last_toggle >= blink_ms)
	    {
	      HAL_GPIO_TogglePin(LD3_GPIO_Port, LD3_Pin);
	      last_toggle = HAL_GetTick();
	    }
	    osDelay(1);
	  }
  /* USER CODE END 5 */
}

void StartHeartbeatTask(void *argument)
{
  /* USER CODE BEGIN StartHeartbeatTask */
  char msg[128];
  uint32_t wake = osKernelGetTickCount();

  for(;;)
  {
    wake += 1000;
    osDelayUntil(wake);

    int len = snprintf(msg, sizeof(msg),
                           "# up=%lus q=%lu dropG=%lu dropS=%lu | gyro L=%lu | log L=%lu\r\n",
                           (unsigned long)(osKernelGetTickCount() / 1000),
                           (unsigned long)osMessageQueueGetSpace(sampleQueueHandle),
                           (unsigned long)dropped[SRC_GYRO],
                           (unsigned long)dropped[SRC_SYSTEM],
                           (unsigned long)gyro_loops,
                           (unsigned long)logger_loops);

    HAL_UART_Transmit(&huart1, (uint8_t *)msg, len, 100);
  }
  /* USER CODE END StartHeartbeatTask */
}

void StartGyroTask(void *argument)
{
  /* USER CODE BEGIN StartGyroTask */
  uint32_t wake;
  uint32_t seq = 0;

  if (!gyro_init())
  {
    for(;;) { osDelay(1000); }
  }

  gyro_calibrate(200);
  wake = osKernelGetTickCount();

  for(;;)
  {
    wake += 20;
    osDelayUntil(wake);

    gyro_loops++;

    gyro_raw_t raw;
    gyro_read_raw(&raw);

    sample_t s;
    s.timestamp_ms = osKernelGetTickCount();
    s.seq          = seq++;
    s.src          = SRC_GYRO;
    s.data.gyro.x  = raw.x;
    s.data.gyro.y  = raw.y;
    s.data.gyro.z  = raw.z;

    if (osMessageQueuePut(sampleQueueHandle, &s, 0, 0) != osOK)
    {
      dropped[SRC_GYRO]++;
    }
  }
  /* USER CODE END StartGyroTask */
}

void StartLoggerTask(void *argument)
{
  /* USER CODE BEGIN StartLoggerTask */
  char msg[96];
  sample_t s;

  for(;;)
  {
    logger_loops++;

    if (osMessageQueueGet(sampleQueueHandle, &s, NULL, osWaitForever) != osOK)
    {
      continue;
    }

    int n = 0;

    switch (s.src)
    {
      case SRC_GYRO:
        n = snprintf(msg, sizeof(msg), "%lu,gyro,%lu,%d,%d,%d\r\n",
                     (unsigned long)s.timestamp_ms,
                     (unsigned long)s.seq,
                     s.data.gyro.x, s.data.gyro.y, s.data.gyro.z);
        break;

      case SRC_SYSTEM:
        n = snprintf(msg, sizeof(msg), "%lu,sys,%lu,%lu,%u\r\n",
                     (unsigned long)s.timestamp_ms,
                     (unsigned long)s.seq,
                     (unsigned long)s.data.sys.uptime_s,
                     s.data.sys.free_heap_kb);
        break;

      default:
        break;
    }

    if (n > 0)
    {
      HAL_UART_Transmit(&huart1, (uint8_t *)msg, n, 100);
    }

  }
  /* USER CODE END StartLoggerTask */
}

void StartSysTask(void *argument)
{
  /* USER CODE BEGIN StartSysTask */
  uint32_t wake = osKernelGetTickCount();
  uint32_t seq  = 0;

  for(;;)
  {
    wake += 1000;
    osDelayUntil(wake);

    sample_t s;
    s.timestamp_ms          = osKernelGetTickCount();
    s.seq                   = seq++;
    s.src                   = SRC_SYSTEM;
    s.data.sys.uptime_s     = osKernelGetTickCount() / 1000;
    s.data.sys.free_heap_kb = (uint16_t)(xPortGetFreeHeapSize() / 1024);

    if (osMessageQueuePut(sampleQueueHandle, &s, 0, 0) != osOK)
    {
      dropped[SRC_SYSTEM]++;
    }
  }
  /* USER CODE END StartSysTask */
}

void HAL_TIM_PeriodElapsedCallback(TIM_HandleTypeDef *htim)
{
  if (htim->Instance == TIM6)
  {
    HAL_IncTick();
  }
}

void Error_Handler(void)
{
  __disable_irq();
  while (1)
  {
  }
}
